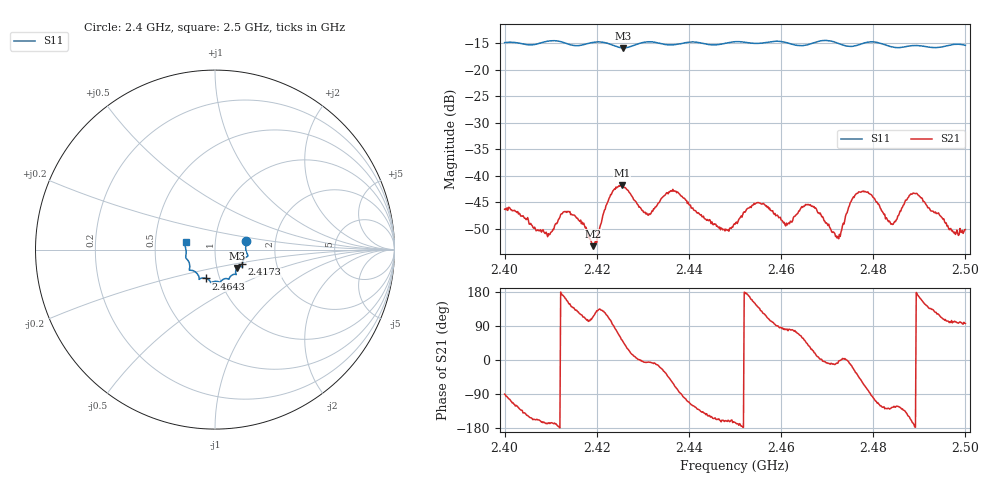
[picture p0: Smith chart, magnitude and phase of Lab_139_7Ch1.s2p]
# Hz S RI R 50
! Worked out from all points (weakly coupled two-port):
!   601 points, 2.4 GHz to 2.5 GHz, reference 50 ohm
!   highest |S21| = -41.86 dB at 2.4255 GHz (marker M1); lowest = -53.3 dB at 2.4192 GHz (marker M2)
!   lowest |S11| = -15.9 dB at 2.4257 GHz (marker M3), VSWR 1.38, Z = 62.5 - j13.1 ohm
!   |S11| at or under -10 dB: start of sweep to end of sweep
!   S12 and S22 are empty: the file has one direction only
!   S11 on the Smith chart (normalised r, x): 2.4 GHz: 1.41, +0.14; 2.4173 GHz: 1.34, -0.23; 2.4643 GHz: 0.86, -0.28; 2.5 GHz: 0.72, +0.06
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2.4e9  0.1728 0.0491  -6.98e-06 -0.00482  0 0  0 0
2.409333e9  0.1828 -0.0308  -0.0026 -0.000542  0 0  0 0
2.412833e9  0.1753 -0.0408  -0.00446 0.000948  0 0  0 0
2.416667e9  0.1527 -0.0744  -0.0017 0.00307  0 0  0 0
2.417333e9  0.1519 -0.0818  -0.0013 0.00313  0 0  0 0
2.419167e9  0.153 -0.0961  -0.000859 0.00198  0 0  0 0
2.423167e9  0.1442 -0.0939  -0.00123 0.00651  0 0  0 0
2.4255e9  0.1246 -0.1014  0.00491 0.0064  0 0  0 0
2.425667e9  0.1232 -0.1024  0.00519 0.00594  0 0  0 0
2.430667e9  0.1184 -0.1385  0.00431 -0.000508  0 0  0 0
2.433333e9  0.1129 -0.1377  0.00536 -0.00134  0 0  0 0
2.437e9  0.0869 -0.1485  0.00237 -0.0067  0 0  0 0
2.45e9  0.0288 -0.181  -0.00335 -0.000917  0 0  0 0
2.454667e9  0.00462 -0.1765  -0.00452 0.0032  0 0  0 0
2.461333e9  -0.0275 -0.1766  0.000508 0.00339  0 0  0 0
2.464333e9  -0.0498 -0.1605  0.00221 0.00446  0 0  0 0
2.466667e9  -0.0758 -0.1593  0.00451 0.00244  0 0  0 0
2.472333e9  -0.0891 -0.1533  0.00264 -0.00039  0 0  0 0
2.477333e9  -0.13 -0.1155  0.00422 -0.00555  0 0  0 0
2.483333e9  -0.1406 -0.0897  -0.00222 -0.00293  0 0  0 0
2.489e9  -0.1625 -0.0457  -0.0068 -0.000429  0 0  0 0
2.5e9  -0.164 0.0429  -0.00035 0.00308  0 0  0 0
